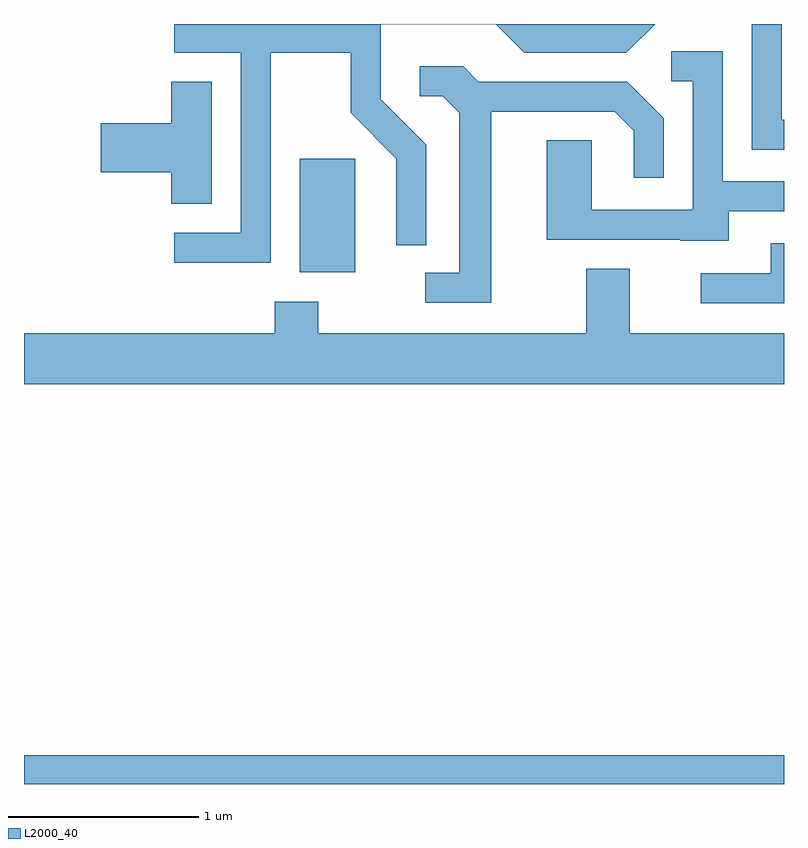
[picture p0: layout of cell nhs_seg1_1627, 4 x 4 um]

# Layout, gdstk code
import gdstk
lib = gdstk.Library(unit=1e-6, precision=1e-09)
def R(c, l, rs):  # rectangles x0, y0, x1, y1
    for r in rs: c.add(gdstk.rectangle(r[:2], r[2:], *l))
def P(c, l, *ps):  # polygons
    for p in ps: c.add(gdstk.Polygon(p, *l))
L2000_40 = (2000, 40)

nhs_seg1_1627 = lib.new_cell('nhs_seg1_1627')
R(nhs_seg1_1627, L2000_40, [(235.611,879.712,239.611,879.864), (237.061,882.406,237.354,883.004)])
P(nhs_seg1_1627, L2000_40, [(236.909,883.561),(237.331,883.561),(237.331,883.244),(237.571,883.004),(237.571,882.548),(237.729,882.548),(237.729,883.077),(237.489,883.317),(237.489,883.711),(238.094,883.711),(238.244,883.561),(238.782,883.561),(238.933,883.712),(236.403,883.712),(236.403,883.561),(236.751,883.561),(236.751,882.614),(236.403,882.614),(236.403,882.456),(236.909,882.456)],
  [(239.611,883.209),(239.599,883.209),(239.599,883.712),(239.441,883.712),(239.441,883.051),(239.611,883.051)],
  [(239.319,882.726),(239.611,882.726),(239.611,882.884),(239.289,882.884),(239.289,883.569),(239.018,883.569),(239.018,883.411),(239.131,883.411),(239.131,882.734),(238.599,882.734),(238.599,883.099),(238.361,883.099),(238.361,882.576),(239.065,882.576),(239.065,882.571),(239.319,882.571)],
  [(238.069,883.251),(238.719,883.251),(238.821,883.149),(238.821,882.903),(238.979,882.903),(238.979,883.217),(238.787,883.409),(238.002,883.409),(237.922,883.489),(237.693,883.489),(237.693,883.331),(237.814,883.331),(237.901,883.244),(237.901,882.404),(237.723,882.404),(237.723,882.246),(238.069,882.246)],
  [(236.599,883.409),(236.386,883.409),(236.386,883.189),(236.016,883.189),(236.016,882.931),(236.386,882.931),(236.386,882.766),(236.599,882.766)],
  [(239.611,882.559),(239.541,882.559),(239.541,882.399),(239.173,882.399),(239.173,882.241),(239.611,882.241)],
  [(239.611,882.084),(238.799,882.084),(238.799,882.424),(238.571,882.424),(238.571,882.084),(237.159,882.084),(237.159,882.249),(236.931,882.249),(236.931,882.084),(235.611,882.084),(235.611,881.816),(239.611,881.816)])

lib.write_gds('nhs_seg1_1627.gds')
